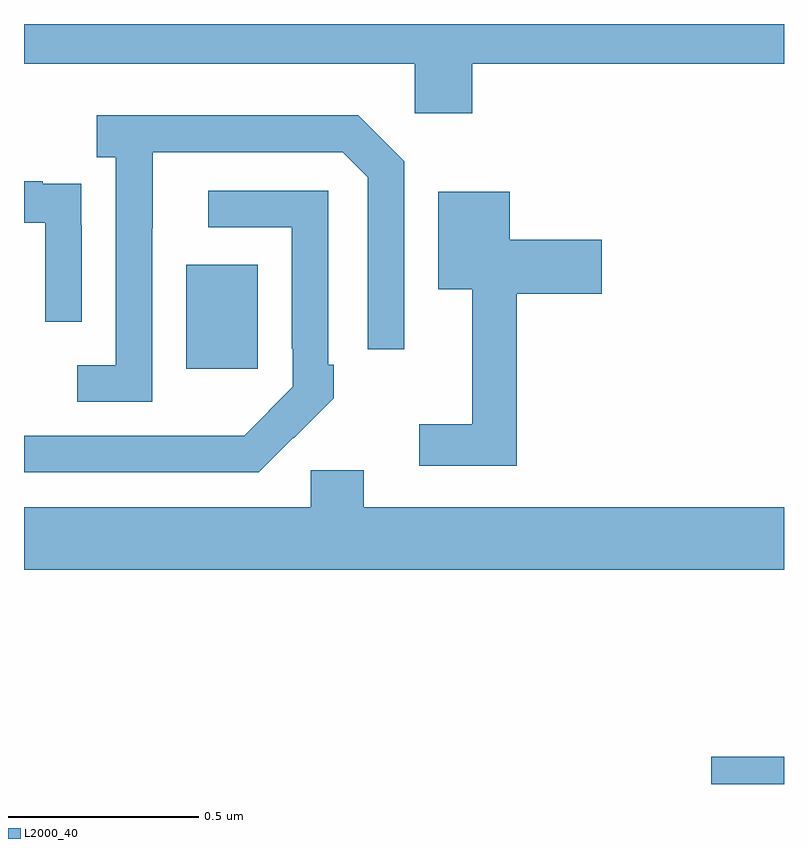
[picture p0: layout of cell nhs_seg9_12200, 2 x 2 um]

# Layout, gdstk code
import gdstk
lib = gdstk.Library(unit=1e-6, precision=1e-09)
def R(c, l, rs):  # rectangles x0, y0, x1, y1
    for r in rs: c.add(gdstk.rectangle(r[:2], r[2:], *l))
def P(c, l, *ps):  # polygons
    for p in ps: c.add(gdstk.Polygon(p, *l))
L2000_40 = (2000, 40)

nhs_seg9_12200 = lib.new_cell('nhs_seg9_12200')
R(nhs_seg9_12200, L2000_40, [(266.808,1218.5,267,1218.572), (265.427,1219.593,265.615,1219.867)])
P(nhs_seg9_12200, L2000_40, [(266.18,1220.396),(267,1220.396),(267,1220.5),(265,1220.5),(265,1220.396),(266.028,1220.396),(266.028,1220.265),(266.18,1220.265)],
  [(265.338,1219.963),(265.339,1219.963),(265.339,1220.163),(265.839,1220.163),(265.905,1220.097),(265.905,1219.644),(266.001,1219.644),(266.001,1220.139),(265.88,1220.26),(265.191,1220.26),(265.191,1220.15),(265.242,1220.15),(265.242,1219.602),(265.14,1219.602),(265.14,1219.506),(265.338,1219.506)],
  [(265.152,1219.97),(265.151,1219.97),(265.151,1220.079),(265.049,1220.079),(265.049,1220.086),(265,1220.086),(265,1219.977),(265.056,1219.977),(265.056,1219.716),(265.152,1219.716)],
  [(265.709,1219.411),(265.71,1219.41),(265.815,1219.515),(265.815,1219.603),(265.8,1219.603),(265.8,1220.061),(265.485,1220.061),(265.485,1219.965),(265.704,1219.965),(265.704,1219.645),(265.707,1219.645),(265.707,1219.545),(265.579,1219.417),(265.475,1219.417),(265.475,1219.416),(265,1219.416),(265,1219.32),(265.618,1219.32)],
  [(266.297,1219.79),(266.521,1219.79),(266.521,1219.932),(266.278,1219.932),(266.278,1220.059),(266.09,1220.059),(266.09,1219.802),(266.18,1219.802),(266.18,1219.447),(266.04,1219.447),(266.04,1219.338),(266.297,1219.338)],
  [(267,1219.228),(265.894,1219.228),(265.894,1219.326),(265.755,1219.326),(265.755,1219.228),(265,1219.228),(265,1219.064),(267,1219.064)])

lib.write_gds('nhs_seg9_12200.gds')
